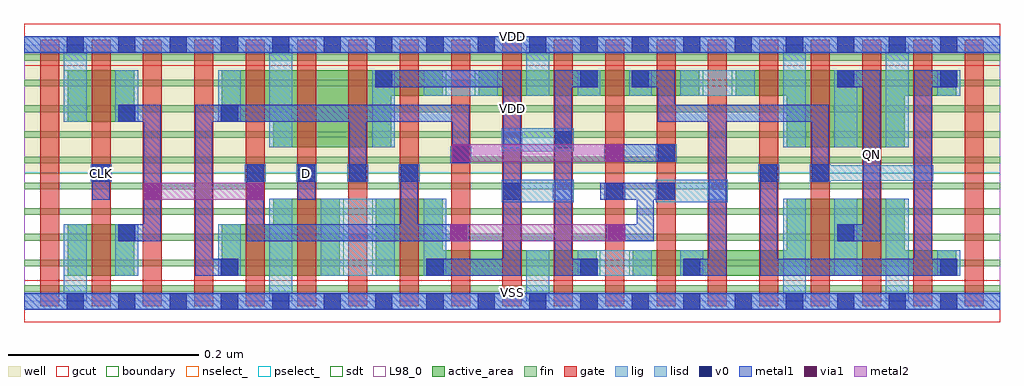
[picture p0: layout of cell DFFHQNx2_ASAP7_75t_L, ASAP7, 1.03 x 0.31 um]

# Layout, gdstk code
import gdstk
lib = gdstk.Library(unit=1e-6, precision=2.5e-10)
def R(c, l, rs):  # rectangles x0, y0, x1, y1
    for r in rs: c.add(gdstk.rectangle(r[:2], r[2:], *l))
def A(c, l, x, y, w, h, nx, ny, dx, dy):  # array of equal rectangles
    R(c, l, [(x+i*dx, y+j*dy, x+i*dx+w, y+j*dy+h) for i in range(nx) for j in range(ny)])
def P(c, l, *ps):  # polygons
    for p in ps: c.add(gdstk.Polygon(p, *l))
well = (1, 0)
fin = (2, 0)
gate = (7, 0)
gcut = (10, 0)
active_area = (11, 0)
nselect_ = (12, 0)
pselect_ = (13, 0)
lig = (16, 0)
lisd = (17, 0)
v0 = (18, 0)
metal1 = (19, 0)
metal2 = (20, 0)
via1 = (21, 0)
sdt = (88, 0)
L98_0 = (98, 0)
boundary = (100, 0)

dffhqnx2_asap7_75t_l = lib.new_cell('DFFHQNx2_ASAP7_75t_L')
R(dffhqnx2_asap7_75t_l, well, [(0,0.135,1.026,0.27)])
A(dffhqnx2_asap7_75t_l, fin, 0, 0.01, 1.026, 0.007, 1, 10, 0, 0.027)
A(dffhqnx2_asap7_75t_l, gate, 0.017, -0.005, 0.02, 0.28, 19, 1, 0.054, 0)
R(dffhqnx2_asap7_75t_l, gcut, [(0,-0.022,1.026,0.022), (0,0.248,1.026,0.292)])
R(dffhqnx2_asap7_75t_l, active_area, [(0.046,0.027,0.116,0.081), (0.046,0.189,0.116,0.243), (0.478,0.216,0.71,0.243)])
P(dffhqnx2_asap7_75t_l, active_area, [(0.208,0.027),(0.208,0.081),(0.262,0.081),(0.262,0.108),(0.332,0.108),(0.332,0.027)],
  [(0.37,0.027),(0.37,0.108),(0.44,0.108),(0.44,0.054),(0.602,0.054),(0.602,0.027)],
  [(0.64,0.027),(0.64,0.054),(0.802,0.054),(0.802,0.108),(0.926,0.108),(0.926,0.054),(0.98,0.054),(0.98,0.027)],
  [(0.262,0.162),(0.262,0.189),(0.208,0.189),(0.208,0.243),(0.44,0.243),(0.44,0.216),(0.386,0.216),(0.386,0.162)],
  [(0.802,0.162),(0.802,0.216),(0.748,0.216),(0.748,0.243),(0.98,0.243),(0.98,0.216),(0.926,0.216),(0.926,0.162)])
R(dffhqnx2_asap7_75t_l, nselect_, [(0,0,1.026,0.135)])
R(dffhqnx2_asap7_75t_l, pselect_, [(0,0.135,1.026,0.27)])
A(dffhqnx2_asap7_75t_l, lig, 0.232, 0.126, 0.022, 0.018, 4, 1, 0.054, 0)
R(dffhqnx2_asap7_75t_l, lig, [(0,-0.008,1.026,0.008), (0.556,0.107,0.578,0.125), (0.61,0.107,0.632,0.125), (0.718,0.107,0.74,0.125), (0.07,0.126,0.092,0.144), (0.772,0.126,0.794,0.144), (0.826,0.126,0.848,0.144), (0.826,0.127,0.956,0.143), (0.448,0.145,0.47,0.163), (0.664,0.147,0.686,0.165), (0.502,0.161,0.524,0.179), (0,0.262,1.026,0.278)])
R(dffhqnx2_asap7_75t_l, lisd, [(0.042,0,0.066,0.081), (0.042,0,0.066,0.081), (0.258,0,0.282,0.108), (0.258,0,0.282,0.108), (0.528,0,0.552,0.054), (0.798,0,0.822,0.108), (0.798,0,0.822,0.108), (0.906,0,0.93,0.108), (0.096,0.027,0.12,0.081), (0.204,0.027,0.228,0.081), (0.312,0.027,0.39,0.108), (0.42,0.027,0.444,0.108), (0.582,0.027,0.66,0.054), (0.582,0.027,0.606,0.054), (0.69,0.027,0.714,0.054), (0.852,0.027,0.876,0.108), (0.96,0.027,0.984,0.054), (0.502,0.104,0.578,0.128), (0.664,0.104,0.74,0.128), (0.502,0.158,0.578,0.182), (0.258,0.162,0.282,0.27), (0.258,0.162,0.282,0.27), (0.366,0.162,0.39,0.243), (0.798,0.162,0.822,0.27), (0.798,0.162,0.822,0.27), (0.852,0.162,0.876,0.243), (0.906,0.162,0.93,0.27), (0.042,0.189,0.066,0.27), (0.042,0.189,0.066,0.27), (0.096,0.189,0.12,0.243), (0.204,0.189,0.228,0.243), (0.42,0.216,0.498,0.243), (0.528,0.216,0.552,0.27), (0.582,0.216,0.606,0.243), (0.636,0.216,0.66,0.243), (0.69,0.216,0.768,0.243), (0.96,0.216,0.984,0.243)])
A(dffhqnx2_asap7_75t_l, v0, 0.045, -0.009, 0.018, 0.018, 18, 2, 0.054, 0.27)
A(dffhqnx2_asap7_75t_l, v0, 0.234, 0.126, 0.018, 0.018, 4, 1, 0.054, 0)
R(dffhqnx2_asap7_75t_l, v0, [(0.207,0.027,0.225,0.045), (0.423,0.027,0.441,0.045), (0.585,0.027,0.603,0.045), (0.693,0.027,0.711,0.045), (0.963,0.027,0.981,0.045), (0.099,0.063,0.117,0.081), (0.855,0.063,0.873,0.081), (0.504,0.107,0.522,0.125), (0.612,0.107,0.63,0.125), (0.666,0.107,0.684,0.125), (0.072,0.126,0.09,0.144), (0.774,0.126,0.792,0.144), (0.828,0.126,0.846,0.144), (0.45,0.145,0.468,0.163), (0.666,0.147,0.684,0.165), (0.558,0.161,0.576,0.179), (0.099,0.189,0.117,0.207), (0.207,0.189,0.225,0.207), (0.369,0.225,0.387,0.243), (0.585,0.225,0.603,0.243), (0.639,0.225,0.657,0.243), (0.855,0.225,0.873,0.243), (0.963,0.225,0.981,0.243)])
A(dffhqnx2_asap7_75t_l, metal1, 0.234, 0.126, 0.018, 0.018, 4, 1, 0.054, 0)
R(dffhqnx2_asap7_75t_l, metal1, [(0,-0.009,1.026,0.009), (0.207,0.027,0.225,0.045), (0.423,0.027,0.441,0.045), (0.585,0.027,0.603,0.045), (0.693,0.027,0.711,0.045), (0.963,0.027,0.981,0.045), (0.099,0.063,0.117,0.081), (0.45,0.063,0.468,0.081), (0.612,0.063,0.632,0.081), (0.855,0.063,0.873,0.081), (0.072,0.107,0.09,0.144), (0.126,0.107,0.144,0.125), (0.234,0.107,0.252,0.125), (0.288,0.107,0.306,0.144), (0.504,0.107,0.522,0.125), (0.606,0.107,0.63,0.125), (0.666,0.107,0.684,0.125), (0.072,0.126,0.09,0.144), (0.774,0.126,0.792,0.144), (0.828,0.126,0.846,0.144), (0.45,0.145,0.468,0.163), (0.45,0.145,0.468,0.163), (0.558,0.145,0.576,0.163), (0.61,0.147,0.632,0.165), (0.612,0.147,0.684,0.165), (0.666,0.147,0.684,0.165), (0.099,0.189,0.117,0.207), (0.207,0.189,0.225,0.207), (0.369,0.225,0.387,0.243), (0.585,0.225,0.603,0.243), (0.639,0.225,0.657,0.243), (0.855,0.225,0.873,0.243), (0.963,0.225,0.981,0.243), (0,0.261,1.026,0.279)])
P(dffhqnx2_asap7_75t_l, metal1, [(0.612,0.063),(0.612,0.081),(0.644,0.081),(0.644,0.107),(0.612,0.107),(0.612,0.125),(0.684,0.125),(0.684,0.107),(0.662,0.107),(0.662,0.063)],
  [(0.18,0.027),(0.18,0.207),(0.468,0.207),(0.468,0.145),(0.45,0.145),(0.45,0.189),(0.36,0.189),(0.36,0.126),(0.342,0.126),(0.342,0.189),(0.198,0.189),(0.198,0.045),(0.225,0.045),(0.225,0.027)],
  [(0.423,0.027),(0.423,0.045),(0.504,0.045),(0.504,0.225),(0.369,0.225),(0.369,0.243),(0.522,0.243),(0.522,0.027)],
  [(0.558,0.027),(0.558,0.243),(0.603,0.243),(0.603,0.225),(0.576,0.225),(0.576,0.045),(0.603,0.045),(0.603,0.027)],
  [(0.693,0.027),(0.693,0.045),(0.72,0.045),(0.72,0.189),(0.666,0.189),(0.666,0.225),(0.639,0.225),(0.639,0.243),(0.684,0.243),(0.684,0.207),(0.846,0.207),(0.846,0.126),(0.828,0.126),(0.828,0.189),(0.738,0.189),(0.738,0.027)],
  [(0.774,0.027),(0.774,0.144),(0.792,0.144),(0.792,0.045),(0.936,0.045),(0.936,0.243),(0.981,0.243),(0.981,0.225),(0.954,0.225),(0.954,0.045),(0.981,0.045),(0.981,0.027)],
  [(0.855,0.063),(0.855,0.081),(0.882,0.081),(0.882,0.225),(0.855,0.225),(0.855,0.243),(0.9,0.243),(0.9,0.063)],
  [(0.099,0.063),(0.099,0.081),(0.126,0.081),(0.126,0.189),(0.099,0.189),(0.099,0.207),(0.144,0.207),(0.144,0.063)],
  [(0.234,0.063),(0.234,0.144),(0.252,0.144),(0.252,0.081),(0.396,0.081),(0.396,0.144),(0.414,0.144),(0.414,0.081),(0.468,0.081),(0.468,0.063)])
R(dffhqnx2_asap7_75t_l, metal2, [(0.448,0.063,0.632,0.081), (0.126,0.107,0.252,0.125), (0.45,0.147,0.63,0.165)])
R(dffhqnx2_asap7_75t_l, via1, [(0.448,0.063,0.466,0.081), (0.614,0.063,0.632,0.081), (0.126,0.107,0.144,0.125), (0.234,0.107,0.252,0.125), (0.45,0.147,0.468,0.165), (0.612,0.147,0.63,0.165)])
A(dffhqnx2_asap7_75t_l, sdt, 0.258, 0.027, 0.024, 0.081, 4, 1, 0.054, 0)
A(dffhqnx2_asap7_75t_l, sdt, 0.582, 0.027, 0.024, 0.027, 3, 1, 0.054, 0)
A(dffhqnx2_asap7_75t_l, sdt, 0.798, 0.027, 0.024, 0.081, 3, 2, 0.054, 0.135)
A(dffhqnx2_asap7_75t_l, sdt, 0.42, 0.216, 0.024, 0.027, 7, 1, 0.054, 0)
R(dffhqnx2_asap7_75t_l, sdt, [(0.042,0.027,0.066,0.081), (0.042,0.027,0.066,0.081), (0.096,0.027,0.12,0.081), (0.204,0.027,0.228,0.081), (0.258,0.027,0.282,0.108), (0.528,0.027,0.552,0.054), (0.582,0.027,0.606,0.054), (0.798,0.027,0.822,0.108), (0.96,0.027,0.984,0.054), (0.258,0.162,0.282,0.243), (0.258,0.162,0.282,0.243), (0.366,0.162,0.39,0.243), (0.798,0.162,0.822,0.243), (0.042,0.189,0.066,0.243), (0.042,0.189,0.066,0.243), (0.096,0.189,0.12,0.243), (0.204,0.189,0.228,0.243), (0.96,0.216,0.984,0.243)])
R(dffhqnx2_asap7_75t_l, L98_0, [(0,0,1.026,0.27)])
R(dffhqnx2_asap7_75t_l, boundary, [(0,0,1.026,0.27)])
dffhqnx2_asap7_75t_l.add(gdstk.Label('VDD', (0.513,0.2025), layer=1, texttype=251))
dffhqnx2_asap7_75t_l.add(gdstk.Label('VSS', (0.513,-0.0675), layer=3, texttype=251))
dffhqnx2_asap7_75t_l.add(gdstk.Label('VSS', (0.513,0.009), layer=19, texttype=251))
dffhqnx2_asap7_75t_l.add(gdstk.Label('VDD', (0.513,0.279), layer=19, texttype=251))
dffhqnx2_asap7_75t_l.add(gdstk.Label('CLK', (0.081,0.135), layer=19, texttype=251))
dffhqnx2_asap7_75t_l.add(gdstk.Label('D', (0.297,0.135), layer=19, texttype=251))
dffhqnx2_asap7_75t_l.add(gdstk.Label('QN', (0.891,0.154), layer=19, texttype=251))

lib.write_gds('DFFHQNx2_ASAP7_75t_L.gds')
